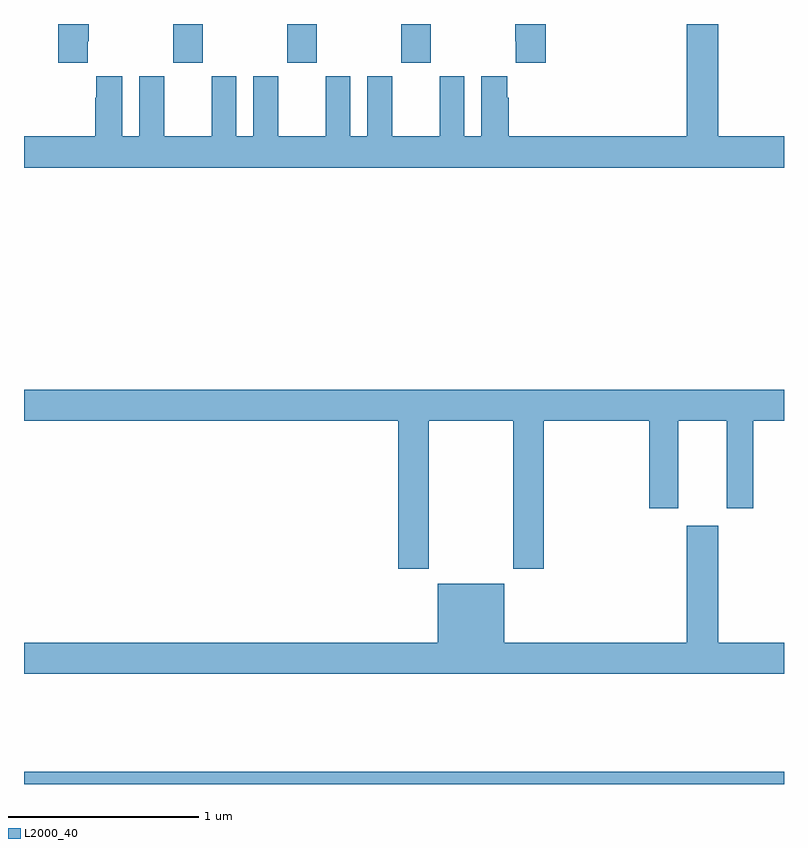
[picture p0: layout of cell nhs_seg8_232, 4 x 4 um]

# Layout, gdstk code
import gdstk
lib = gdstk.Library(unit=1e-6, precision=1e-09)
def R(c, l, rs):  # rectangles x0, y0, x1, y1
    for r in rs: c.add(gdstk.rectangle(r[:2], r[2:], *l))
def A(c, l, x, y, w, h, nx, ny, dx, dy):  # array of equal rectangles
    R(c, l, [(x+i*dx, y+j*dy, x+i*dx+w, y+j*dy+h) for i in range(nx) for j in range(ny)])
def P(c, l, *ps):  # polygons
    for p in ps: c.add(gdstk.Polygon(p, *l))
L2000_40 = (2000, 40)

nhs_seg8_232 = lib.new_cell('nhs_seg8_232')
A(nhs_seg8_232, L2000_40, 125.785, 1139.697, 0.155, 0.203, 3, 1, 0.6, 0)
R(nhs_seg8_232, L2000_40, [(125,1135.9,129,1135.964)])
P(nhs_seg8_232, L2000_40, [(127.745,1139.9),(127.585,1139.9),(127.585,1139.809),(127.589,1139.809),(127.589,1139.697),(127.745,1139.697)],
  [(125.335,1139.809),(125.34,1139.809),(125.34,1139.9),(125.18,1139.9),(125.18,1139.697),(125.335,1139.697)],
  [(129,1139.308),(128.653,1139.308),(128.653,1139.9),(128.489,1139.9),(128.489,1139.308),(127.55,1139.308),(127.55,1139.513),(127.543,1139.513),(127.543,1139.626),(127.406,1139.626),(127.406,1139.308),(127.318,1139.308),(127.318,1139.626),(127.187,1139.626),(127.187,1139.308),(126.937,1139.308),(126.937,1139.626),(126.806,1139.626),(126.806,1139.308),(126.718,1139.308),(126.718,1139.626),(126.587,1139.626),(126.587,1139.308),(126.337,1139.308),(126.337,1139.626),(126.206,1139.626),(126.206,1139.308),(126.118,1139.308),(126.118,1139.626),(125.987,1139.626),(125.987,1139.308),(125.737,1139.308),(125.737,1139.626),(125.606,1139.626),(125.606,1139.308),(125.518,1139.308),(125.518,1139.626),(125.381,1139.626),(125.381,1139.513),(125.375,1139.513),(125.375,1139.308),(125,1139.308),(125,1139.144),(129,1139.144)],
  [(127.131,1137.812),(127.576,1137.812),(127.576,1137.033),(127.736,1137.033),(127.736,1137.812),(128.291,1137.812),(128.291,1137.351),(128.443,1137.351),(128.443,1137.812),(128.699,1137.812),(128.699,1137.351),(128.839,1137.351),(128.839,1137.812),(129,1137.812),(129,1137.976),(125,1137.976),(125,1137.812),(126.971,1137.812),(126.971,1137.033),(127.131,1137.033)],
  [(129,1136.644),(128.653,1136.644),(128.653,1137.259),(128.489,1137.259),(128.489,1136.644),(127.528,1136.644),(127.528,1136.953),(127.178,1136.953),(127.178,1136.644),(125,1136.644),(125,1136.48),(129,1136.48)])

lib.write_gds('nhs_seg8_232.gds')
